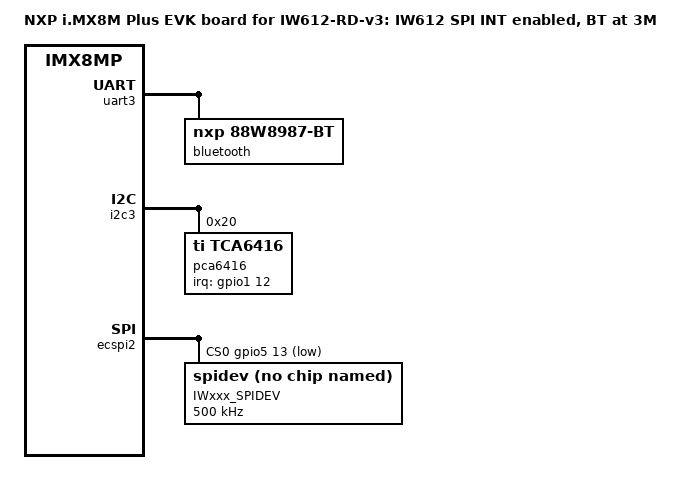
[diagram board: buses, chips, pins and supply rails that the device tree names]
// SPDX-License-Identifier: (GPL-2.0 OR MIT)
/*
 * Copyright 2025 NXP
 */

/* Supported for chipsets:
 - 9177
 Chip support list end */

/dts-v1/;
#include "imx8mp-evk.dts"

/ {
	// Patch for IW61x:
	// v1: ffu_gpio_irq (make GPIO_SPI_INT interruptible), bluetooth at 3M
	// v2: gpio naming and options description in model
	// v3: IW612 RD hardware board only
	model = "NXP i.MX8M Plus EVK board for IW612-RD-v3: IW612 SPI INT enabled, BT at 3M";
};

&uart1 {
	/delete-node/ bluetooth;
};

&uart3 {
	bluetooth {
		compatible = "nxp,88w8987-bt";
		fw-init-baudrate = <3000000>;
	};
};

&i2c3 {
	pca6416: gpio@20 {
		compatible = "ti,tca6416";
		reg = <0x20>;
		gpio-controller;
		#gpio-cells = <2>;
		interrupt-parent = <&gpio1>;
		interrupts = <12 IRQ_TYPE_EDGE_FALLING>;
		pinctrl-names = "default";
		pinctrl-0 = <&pinctrl_pca6416_irq>;
		gpio-line-names = "", "", "", "", "", "", "", "", "", "", "", "", "IWxxx_NB_SPI_INT", "IWxxx_NB_IND_RST_15_4";
	};
};

&ecspi2 {
	#address-cells = <1>;
	#size-cells = <0>;
	fsl,spi-num-chipselects = <1>;
	pinctrl-names = "default";
	pinctrl-0 = <&pinctrl_espi2>;
	cs-gpios = <&gpio5 13 GPIO_ACTIVE_LOW>;
	status = "okay";

	spidev0: spi@0 {
		reg = <0>;
		compatible = "rohm,dh2228fv";
		spi-max-frequency = <500000>;
		label="IWxxx_SPIDEV";
	};

};

&iomuxc {
	pinctrl_pca6416_irq: pca6416irq {
		fsl,pins = <
			MX8MP_IOMUXC_GPIO1_IO12__GPIO1_IO12		0x141
		>;
	};

	pinctrl_espi2: espi2grp {
		fsl,pins = <
			MX8MP_IOMUXC_ECSPI2_SCLK__ECSPI2_SCLK		0x082
			MX8MP_IOMUXC_ECSPI2_MOSI__ECSPI2_MOSI		0x082
			MX8MP_IOMUXC_ECSPI2_MISO__ECSPI2_MISO		0x082
			MX8MP_IOMUXC_ECSPI2_SS0__GPIO5_IO13		0x000
		>;
	};
};
